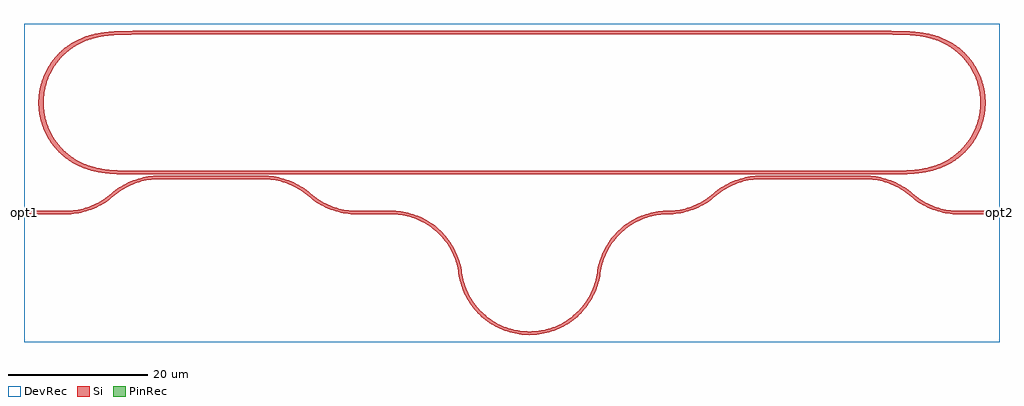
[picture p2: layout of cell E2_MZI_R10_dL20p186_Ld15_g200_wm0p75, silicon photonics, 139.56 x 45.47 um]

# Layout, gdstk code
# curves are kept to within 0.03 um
import gdstk
lib = gdstk.Library(unit=1e-6, precision=1e-09)
def R(c, l, rs):  # rectangles x0, y0, x1, y1
    for r in rs: c.add(gdstk.rectangle(r[:2], r[2:], *l))
def P(c, l, *ps):  # polygons
    for p in ps: c.add(gdstk.Polygon(p, *l))
Si = (1, 0)
PinRec = (1, 10)
DevRec = (68, 0)

c__e2ring_r10p000_lc105p08 = lib.new_cell('_E2ring_R10p000_Lc105p084_w0p500_wm0p750_tp30')
R(c__e2ring_r10p000_lc105p08, Si, [(-52.542,-10.25,52.542,-9.75), (-52.542,9.75,52.542,10.25)])
P(c__e2ring_r10p000_lc105p08, Si, [(-53.703,-10.25),(-56.688,-10.193),(-58.832,-9.976),(-59.808,-9.783),(-60.608,-9.565),(-61.39,-9.289),(-62.148,-8.954),(-63.011,-8.475),(-63.681,-8.02),(-64.433,-7.404),(-65.121,-6.719),(-65.74,-5.969),(-66.197,-5.301),(-66.673,-4.454),(-67.005,-3.715),(-67.322,-2.797),(-67.549,-1.852),(-67.682,-0.89),(-67.722,0.081),(-67.667,1.051),(-67.483,2.17),(-67.226,3.107),(-66.879,4.014),(-66.445,4.884),(-65.929,5.707),(-65.335,6.476),(-64.669,7.184),(-63.938,7.823),(-63.148,8.388),(-62.296,8.88),(-61.39,9.29),(-60.29,9.659),(-59.321,9.888),(-58.01,10.088),(-56.688,10.193),(-52.542,10.25),(-52.542,9.75),(-55.061,9.741),(-56.791,9.678),(-58.356,9.515),(-59.591,9.271),(-60.94,8.841),(-62.079,8.304),(-63.119,7.636),(-64.062,6.84),(-64.988,5.807),(-65.755,4.651),(-66.344,3.395),(-66.591,2.664),(-66.777,1.916),(-66.957,0.54),(-66.934,-0.847),(-66.71,-2.216),(-66.288,-3.538),(-65.972,-4.242),(-65.518,-5.048),(-65.082,-5.684),(-64.492,-6.398),(-63.95,-6.946),(-63.243,-7.543),(-62.611,-7.986),(-61.94,-8.379),(-61.086,-8.781),(-60.198,-9.101),(-59.131,-9.376),(-58.201,-9.537),(-56.005,-9.717),(-52.542,-9.75),(-52.542,-10.25)],
  [(52.542,-10.25),(52.542,-9.75),(55.218,-9.738),(56.791,-9.678),(58.201,-9.537),(59.438,-9.307),(60.348,-9.053),(61.231,-8.72),(62.079,-8.304),(62.868,-7.815),(63.836,-7.05),(64.595,-6.283),(65.263,-5.434),(65.902,-4.379),(66.344,-3.395),(66.71,-2.216),(66.902,-1.154),(66.972,-0.077),(66.902,1.155),(66.71,2.217),(66.398,3.25),(65.972,4.242),(65.435,5.179),(64.696,6.167),(63.95,6.946),(62.994,7.726),(62.216,8.227),(61.375,8.657),(60.497,9.004),(59.438,9.308),(58.045,9.559),(56.791,9.678),(55.061,9.741),(52.542,9.75),(52.542,10.25),(56.356,10.209),(58.504,10.026),(59.646,9.82),(60.608,9.565),(61.39,9.29),(62.296,8.88),(63.148,8.388),(63.938,7.823),(64.669,7.184),(65.335,6.476),(65.929,5.707),(66.445,4.884),(66.879,4.014),(67.226,3.107),(67.483,2.17),(67.648,1.212),(67.719,0.243),(67.695,-0.728),(67.577,-1.693),(67.366,-2.641),(67.064,-3.564),(66.673,-4.454),(66.282,-5.163),(65.74,-5.969),(65.121,-6.719),(64.552,-7.295),(63.938,-7.823),(63.148,-8.388),(62.296,-8.879),(61.543,-9.227),(60.608,-9.565),(59.808,-9.783),(58.01,-10.087),(55.859,-10.226)])

e2_mzi_r10_dl20p186_ld15 = lib.new_cell('E2_MZI_R10_dL20p186_Ld15_g200_wm0p75')
R(e2_mzi_r10_dl20p186_ld15, Si, [(-1,-0.25,0,0.25), (0,-0.25,5,0.25), (46.458,-0.25,51.458,0.25), (132.541,-0.25,137.541,0.25), (137.541,-0.25,138.541,0.25), (18.229,4.75,33.229,5.25), (104.313,4.75,119.313,5.25)])
P(e2_mzi_r10_dl20p186_ld15, Si, [(71.271,-17.523),(71.271,-17.023),(71.952,-16.999),(72.967,-16.874),(73.963,-16.644),(74.612,-16.433),(75.553,-16.032),(76.447,-15.536),(77.284,-14.948),(77.805,-14.509),(78.295,-14.035),(78.965,-13.262),(79.55,-12.423),(79.889,-11.832),(80.187,-11.218),(80.551,-10.263),(80.813,-9.274),(80.93,-8.602),(81.425,-8.671),(81.223,-9.726),(81.027,-10.416),(80.644,-11.42),(80.158,-12.379),(79.779,-12.988),(79.134,-13.848),(78.402,-14.635),(77.87,-15.116),(77.306,-15.558),(76.405,-16.144),(75.448,-16.633),(74.783,-16.902),(74.101,-17.124),(73.054,-17.367),(71.987,-17.498)],
  [(71.271,-17.523),(70.554,-17.498),(69.487,-17.367),(68.44,-17.124),(67.758,-16.902),(67.094,-16.633),(66.136,-16.144),(65.529,-15.764),(64.671,-15.116),(64.139,-14.635),(63.407,-13.848),(62.762,-12.988),(62.383,-12.379),(62.048,-11.746),(61.63,-10.755),(61.319,-9.726),(61.116,-8.671),(61.612,-8.602),(61.728,-9.274),(61.99,-10.263),(62.222,-10.904),(62.652,-11.832),(62.992,-12.423),(63.577,-13.262),(64.246,-14.035),(64.736,-14.509),(65.53,-15.154),(66.387,-15.712),(67.298,-16.177),(67.93,-16.433),(68.578,-16.644),(69.574,-16.874),(70.589,-16.999),(71.271,-17.023)],
  [(132.541,-0.25),(131.432,-0.19),(130.699,-0.083),(129.619,0.175),(128.917,0.412),(127.901,0.86),(127.254,1.219),(126.334,1.843),(125.762,2.313),(126.092,2.688),(126.637,2.241),(127.511,1.648),(128.445,1.152),(129.094,0.88),(130.101,0.56),(130.789,0.409),(131.837,0.275),(132.541,0.25)],
  [(61.116,-8.671),(61,-7.999),(60.738,-7.01),(60.374,-6.055),(60.076,-5.441),(59.736,-4.85),(59.151,-4.011),(58.482,-3.238),(57.992,-2.764),(57.198,-2.119),(56.341,-1.561),(55.431,-1.096),(54.799,-0.84),(54.15,-0.629),(53.154,-0.399),(52.139,-0.274),(51.458,-0.25),(51.458,0.25),(52.531,0.194),(53.241,0.094),(54.288,-0.149),(55.304,-0.499),(55.959,-0.791),(56.899,-1.314),(57.779,-1.931),(58.327,-2.393),(59.086,-3.154),(59.761,-3.991),(60.345,-4.893),(60.831,-5.852),(61.318,-7.2),(61.612,-8.602)],
  [(46.458,-0.25),(45.348,-0.19),(44.616,-0.083),(43.535,0.175),(42.834,0.412),(41.817,0.86),(41.17,1.219),(40.549,1.624),(39.678,2.313),(40.008,2.688),(40.553,2.241),(41.428,1.648),(42.361,1.152),(43.01,0.88),(44.017,0.56),(44.705,0.409),(45.753,0.275),(46.458,0.25)],
  [(125.762,2.313),(124.933,2.967),(124.343,3.352),(123.409,3.848),(122.76,4.12),(121.753,4.44),(121.065,4.591),(120.017,4.725),(119.313,4.75),(119.313,5.25),(120.422,5.19),(121.518,5.01),(122.588,4.713),(123.619,4.301),(124.914,3.584),(126.092,2.688)],
  [(97.864,2.313),(97.533,2.688),(98.711,3.584),(100.006,4.301),(101.038,4.713),(102.108,5.01),(103.204,5.19),(104.313,5.25),(104.313,4.75),(103.609,4.725),(102.561,4.591),(101.873,4.44),(100.866,4.12),(100.216,3.848),(99.283,3.352),(98.693,2.967)],
  [(91.084,-0.25),(91.084,0.25),(91.788,0.275),(92.836,0.409),(93.524,0.56),(94.531,0.88),(95.181,1.152),(96.114,1.648),(96.988,2.241),(97.533,2.688),(97.864,2.313),(97.291,1.843),(96.372,1.219),(95.724,0.86),(94.708,0.412),(94.006,0.175),(92.926,-0.083),(92.193,-0.19)],
  [(39.678,2.313),(38.849,2.967),(38.259,3.352),(37.325,3.848),(36.676,4.12),(35.669,4.44),(34.981,4.591),(33.933,4.725),(33.229,4.75),(33.229,5.25),(34.338,5.19),(35.434,5.01),(36.504,4.713),(37.536,4.301),(38.83,3.584),(40.008,2.688)],
  [(11.78,2.313),(11.449,2.688),(12.627,3.584),(13.922,4.301),(14.954,4.713),(16.024,5.01),(17.12,5.19),(18.229,5.25),(18.229,4.75),(17.525,4.725),(16.477,4.591),(15.789,4.44),(14.782,4.12),(14.132,3.848),(13.199,3.352),(12.609,2.967)],
  [(81.425,-8.671),(80.93,-8.602),(81.224,-7.2),(81.711,-5.852),(82.197,-4.893),(82.78,-3.991),(83.455,-3.154),(84.214,-2.393),(85.049,-1.715),(85.643,-1.314),(86.263,-0.954),(87.237,-0.499),(88.253,-0.149),(89.301,0.094),(90.01,0.194),(91.084,0.25),(91.084,-0.25),(90.402,-0.274),(89.388,-0.399),(88.391,-0.629),(87.743,-0.84),(87.111,-1.096),(86.2,-1.561),(85.343,-2.119),(84.549,-2.764),(83.827,-3.488),(83.39,-4.011),(82.99,-4.564),(82.465,-5.441),(82.035,-6.369),(81.804,-7.01),(81.617,-7.666)],
  [(5,-0.25),(5,0.25),(5.704,0.275),(6.752,0.409),(7.44,0.56),(8.447,0.88),(9.097,1.152),(10.03,1.648),(10.904,2.241),(11.449,2.688),(11.78,2.313),(11.207,1.843),(10.288,1.219),(9.64,0.86),(8.624,0.412),(7.922,0.175),(6.842,-0.083),(6.109,-0.19)])
R(e2_mzi_r10_dl20p186_ld15, DevRec, [(-1,-18.523,138.541,26.95)])
e2_mzi_r10_dl20p186_ld15.add(gdstk.FlexPath([(138.531,0),(138.551,0)], 0.5, ends="flush", simple_path=True, layer=1, datatype=10))  # PinRec
e2_mzi_r10_dl20p186_ld15.add(gdstk.FlexPath([(-0.99,0),(-1.01,0)], 0.5, ends="flush", simple_path=True, layer=1, datatype=10))  # PinRec
e2_mzi_r10_dl20p186_ld15.add(gdstk.Reference(c__e2ring_r10p000_lc105p08, (68.771,15.7)))
e2_mzi_r10_dl20p186_ld15.add(gdstk.Label('opt2', (138.541,0), layer=1, texttype=10))
e2_mzi_r10_dl20p186_ld15.add(gdstk.Label('opt1', (-1,0), layer=1, texttype=10))

lib.write_gds('E2_MZI_R10_dL20p186_Ld15_g200_wm0p75.gds')
